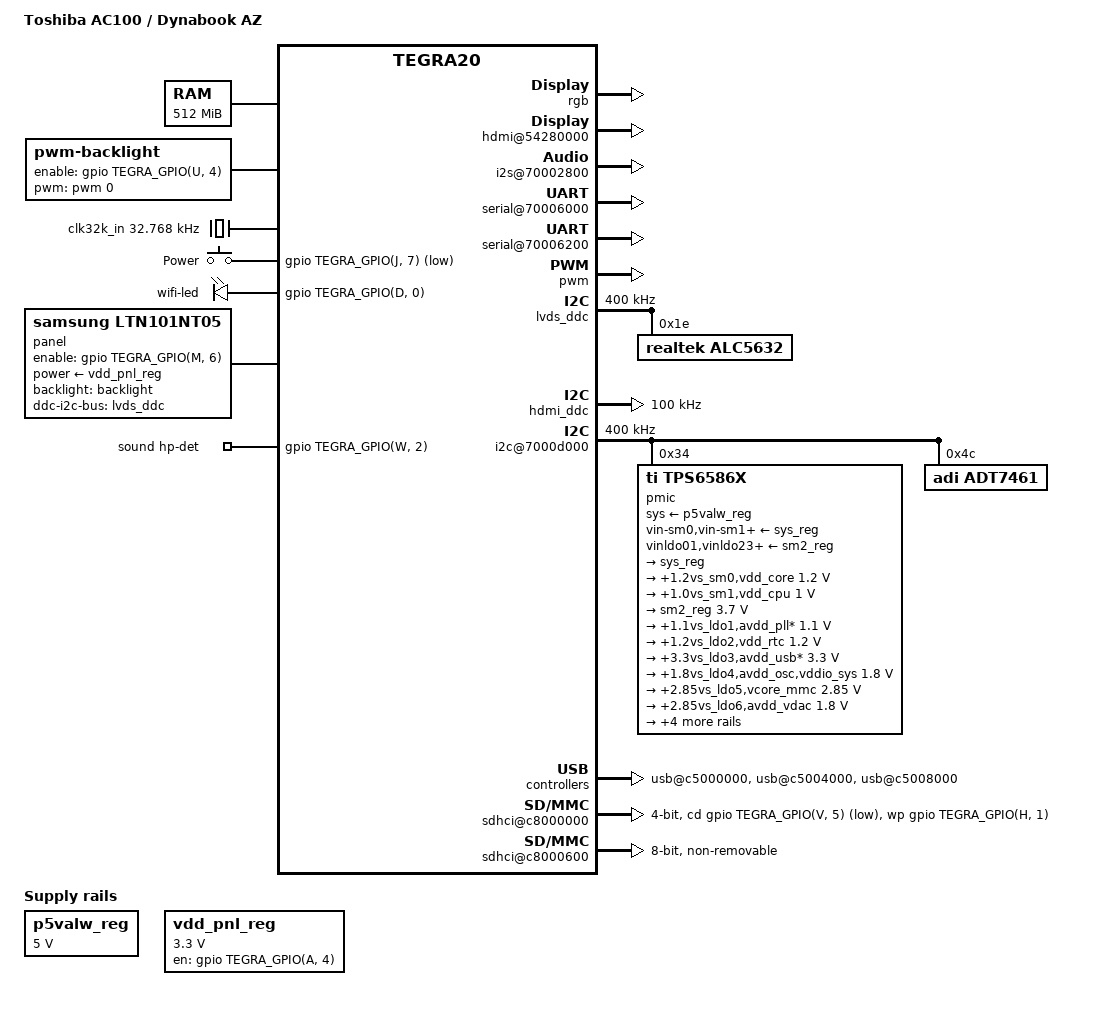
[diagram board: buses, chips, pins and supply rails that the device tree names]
/dts-v1/;

#include <dt-bindings/input/input.h>
#include "tegra20.dtsi"

/ {
	model = "Toshiba AC100 / Dynabook AZ";
	compatible = "compal,paz00", "nvidia,tegra20";

	aliases {
		rtc0 = "/i2c@7000d000/tps6586x@34";
		rtc1 = "/rtc@7000e000";
		serial0 = &uarta;
		serial1 = &uartc;
	};

	chosen {
		stdout-path = "serial0:115200n8";
	};

	memory {
		reg = <0x00000000 0x20000000>;
	};

	host1x@50000000 {
		dc@54200000 {
			rgb {
				status = "okay";

				nvidia,panel = <&panel>;
			};
		};

		hdmi@54280000 {
			status = "okay";

			vdd-supply = <&hdmi_vdd_reg>;
			pll-supply = <&hdmi_pll_reg>;

			nvidia,ddc-i2c-bus = <&hdmi_ddc>;
			nvidia,hpd-gpio = <&gpio TEGRA_GPIO(N, 7)
				GPIO_ACTIVE_HIGH>;
		};
	};

	pinmux@70000014 {
		pinctrl-names = "default";
		pinctrl-0 = <&state_default>;

		state_default: pinmux {
			ata {
				nvidia,pins = "ata", "atc", "atd", "ate",
					"dap2", "gmb", "gmc", "gmd", "spia",
					"spib", "spic", "spid", "spie";
				nvidia,function = "gmi";
			};
			atb {
				nvidia,pins = "atb", "gma", "gme";
				nvidia,function = "sdio4";
			};
			cdev1 {
				nvidia,pins = "cdev1";
				nvidia,function = "plla_out";
			};
			cdev2 {
				nvidia,pins = "cdev2";
				nvidia,function = "pllp_out4";
			};
			crtp {
				nvidia,pins = "crtp";
				nvidia,function = "crt";
			};
			csus {
				nvidia,pins = "csus";
				nvidia,function = "pllc_out1";
			};
			dap1 {
				nvidia,pins = "dap1";
				nvidia,function = "dap1";
			};
			dap3 {
				nvidia,pins = "dap3";
				nvidia,function = "dap3";
			};
			dap4 {
				nvidia,pins = "dap4";
				nvidia,function = "dap4";
			};
			ddc {
				nvidia,pins = "ddc";
				nvidia,function = "i2c2";
			};
			dta {
				nvidia,pins = "dta", "dtb", "dtc", "dtd", "dte";
				nvidia,function = "rsvd1";
			};
			dtf {
				nvidia,pins = "dtf";
				nvidia,function = "i2c3";
			};
			gpu {
				nvidia,pins = "gpu", "sdb", "sdd";
				nvidia,function = "pwm";
			};
			gpu7 {
				nvidia,pins = "gpu7";
				nvidia,function = "rtck";
			};
			gpv {
				nvidia,pins = "gpv", "slxa", "slxk";
				nvidia,function = "pcie";
			};
			hdint {
				nvidia,pins = "hdint", "pta";
				nvidia,function = "hdmi";
			};
			i2cp {
				nvidia,pins = "i2cp";
				nvidia,function = "i2cp";
			};
			irrx {
				nvidia,pins = "irrx", "irtx";
				nvidia,function = "uarta";
			};
			kbca {
				nvidia,pins = "kbca", "kbcc", "kbce", "kbcf";
				nvidia,function = "kbc";
			};
			kbcb {
				nvidia,pins = "kbcb", "kbcd";
				nvidia,function = "sdio2";
			};
			lcsn {
				nvidia,pins = "lcsn", "ld0", "ld1", "ld2",
					"ld3", "ld4", "ld5", "ld6", "ld7",
					"ld8", "ld9", "ld10", "ld11", "ld12",
					"ld13", "ld14", "ld15", "ld16", "ld17",
					"ldc", "ldi", "lhp0", "lhp1", "lhp2",
					"lhs", "lm0", "lm1", "lpp", "lpw0",
					"lpw1", "lpw2", "lsc0", "lsc1", "lsck",
					"lsda", "lsdi", "lspi", "lvp0", "lvp1",
					"lvs";
				nvidia,function = "displaya";
			};
			owc {
				nvidia,pins = "owc";
				nvidia,function = "owr";
			};
			pmc {
				nvidia,pins = "pmc";
				nvidia,function = "pwr_on";
			};
			rm {
				nvidia,pins = "rm";
				nvidia,function = "i2c1";
			};
			sdc {
				nvidia,pins = "sdc";
				nvidia,function = "twc";
			};
			sdio1 {
				nvidia,pins = "sdio1";
				nvidia,function = "sdio1";
			};
			slxc {
				nvidia,pins = "slxc", "slxd";
				nvidia,function = "spi4";
			};
			spdi {
				nvidia,pins = "spdi", "spdo";
				nvidia,function = "rsvd2";
			};
			spif {
				nvidia,pins = "spif", "uac";
				nvidia,function = "rsvd4";
			};
			spig {
				nvidia,pins = "spig", "spih";
				nvidia,function = "spi2_alt";
			};
			uaa {
				nvidia,pins = "uaa", "uab", "uda";
				nvidia,function = "ulpi";
			};
			uad {
				nvidia,pins = "uad";
				nvidia,function = "spdif";
			};
			uca {
				nvidia,pins = "uca", "ucb";
				nvidia,function = "uartc";
			};
			conf_ata {
				nvidia,pins = "ata", "atb", "atc", "atd", "ate",
					"cdev1", "cdev2", "dap1", "dap2", "dtf",
					"gma", "gmb", "gmc", "gmd", "gme",
					"gpu", "gpu7", "gpv", "i2cp", "pta",
					"rm", "sdio1", "slxk", "spdo", "uac",
					"uda";
				nvidia,pull = <TEGRA_PIN_PULL_NONE>;
				nvidia,tristate = <TEGRA_PIN_DISABLE>;
			};
			conf_ck32 {
				nvidia,pins = "ck32", "ddrc", "pmca", "pmcb",
					"pmcc", "pmcd", "pmce", "xm2c", "xm2d";
				nvidia,pull = <TEGRA_PIN_PULL_NONE>;
			};
			conf_crtp {
				nvidia,pins = "crtp", "dap3", "dap4", "dtb",
					"dtc", "dte", "slxa", "slxc", "slxd",
					"spdi";
				nvidia,pull = <TEGRA_PIN_PULL_NONE>;
				nvidia,tristate = <TEGRA_PIN_ENABLE>;
			};
			conf_csus {
				nvidia,pins = "csus", "spia", "spib", "spid",
					"spif";
				nvidia,pull = <TEGRA_PIN_PULL_DOWN>;
				nvidia,tristate = <TEGRA_PIN_ENABLE>;
			};
			conf_ddc {
				nvidia,pins = "ddc", "irrx", "irtx", "kbca",
					"kbcb", "kbcc", "kbcd", "kbce", "kbcf",
					"spic", "spig", "uaa", "uab";
				nvidia,pull = <TEGRA_PIN_PULL_UP>;
				nvidia,tristate = <TEGRA_PIN_DISABLE>;
			};
			conf_dta {
				nvidia,pins = "dta", "dtd", "owc", "sdc", "sdd",
					"spie", "spih", "uad", "uca", "ucb";
				nvidia,pull = <TEGRA_PIN_PULL_UP>;
				nvidia,tristate = <TEGRA_PIN_ENABLE>;
			};
			conf_hdint {
				nvidia,pins = "hdint", "ld0", "ld1", "ld2",
					"ld3", "ld4", "ld5", "ld6", "ld7",
					"ld8", "ld9", "ld10", "ld11", "ld12",
					"ld13", "ld14", "ld15", "ld16", "ld17",
					"ldc", "ldi", "lhs", "lsc0", "lspi",
					"lvs", "pmc";
				nvidia,tristate = <TEGRA_PIN_DISABLE>;
			};
			conf_lc {
				nvidia,pins = "lc", "ls";
				nvidia,pull = <TEGRA_PIN_PULL_UP>;
			};
			conf_lcsn {
				nvidia,pins = "lcsn", "lhp0", "lhp1", "lhp2",
					"lm0", "lm1", "lpp", "lpw0", "lpw1",
					"lpw2", "lsc1", "lsck", "lsda", "lsdi",
					"lvp0", "lvp1", "sdb";
				nvidia,tristate = <TEGRA_PIN_ENABLE>;
			};
			conf_ld17_0 {
				nvidia,pins = "ld17_0", "ld19_18", "ld21_20",
					"ld23_22";
				nvidia,pull = <TEGRA_PIN_PULL_DOWN>;
			};
		};
	};

	i2s@70002800 {
		status = "okay";
	};

	serial@70006000 {
		status = "okay";
	};

	serial@70006200 {
		status = "okay";
	};

	pwm: pwm@7000a000 {
		status = "okay";
	};

	lvds_ddc: i2c@7000c000 {
		status = "okay";
		clock-frequency = <400000>;

		alc5632: alc5632@1e {
			compatible = "realtek,alc5632";
			reg = <0x1e>;
			gpio-controller;
			#gpio-cells = <2>;
		};
	};

	hdmi_ddc: i2c@7000c400 {
		status = "okay";
		clock-frequency = <100000>;
	};

	nvec@7000c500 {
		compatible = "nvidia,nvec";
		reg = <0x7000c500 0x100>;
		interrupts = <GIC_SPI 92 IRQ_TYPE_LEVEL_HIGH>;
		#address-cells = <1>;
		#size-cells = <0>;
		clock-frequency = <80000>;
		request-gpios = <&gpio TEGRA_GPIO(V, 2) GPIO_ACTIVE_HIGH>;
		slave-addr = <138>;
		clocks = <&tegra_car TEGRA20_CLK_I2C3>,
		         <&tegra_car TEGRA20_CLK_PLL_P_OUT3>;
		clock-names = "div-clk", "fast-clk";
		resets = <&tegra_car 67>;
		reset-names = "i2c";
	};

	i2c@7000d000 {
		status = "okay";
		clock-frequency = <400000>;

		pmic: tps6586x@34 {
			compatible = "ti,tps6586x";
			reg = <0x34>;
			interrupts = <GIC_SPI 86 IRQ_TYPE_LEVEL_HIGH>;

			#gpio-cells = <2>;
			gpio-controller;

			sys-supply = <&p5valw_reg>;
			vin-sm0-supply = <&sys_reg>;
			vin-sm1-supply = <&sys_reg>;
			vin-sm2-supply = <&sys_reg>;
			vinldo01-supply = <&sm2_reg>;
			vinldo23-supply = <&sm2_reg>;
			vinldo4-supply = <&sm2_reg>;
			vinldo678-supply = <&sm2_reg>;
			vinldo9-supply = <&sm2_reg>;

			regulators {
				sys_reg: sys {
					regulator-name = "vdd_sys";
					regulator-always-on;
				};

				sm0 {
					regulator-name = "+1.2vs_sm0,vdd_core";
					regulator-min-microvolt = <1200000>;
					regulator-max-microvolt = <1200000>;
					regulator-always-on;
				};

				sm1 {
					regulator-name = "+1.0vs_sm1,vdd_cpu";
					regulator-min-microvolt = <1000000>;
					regulator-max-microvolt = <1000000>;
					regulator-always-on;
				};

				sm2_reg: sm2 {
					regulator-name = "+3.7vs_sm2,vin_ldo*";
					regulator-min-microvolt = <3700000>;
					regulator-max-microvolt = <3700000>;
					regulator-always-on;
				};

				/* LDO0 is not connected to anything */

				ldo1 {
					regulator-name = "+1.1vs_ldo1,avdd_pll*";
					regulator-min-microvolt = <1100000>;
					regulator-max-microvolt = <1100000>;
					regulator-always-on;
				};

				ldo2 {
					regulator-name = "+1.2vs_ldo2,vdd_rtc";
					regulator-min-microvolt = <1200000>;
					regulator-max-microvolt = <1200000>;
				};

				ldo3 {
					regulator-name = "+3.3vs_ldo3,avdd_usb*";
					regulator-min-microvolt = <3300000>;
					regulator-max-microvolt = <3300000>;
					regulator-always-on;
				};

				ldo4 {
					regulator-name = "+1.8vs_ldo4,avdd_osc,vddio_sys";
					regulator-min-microvolt = <1800000>;
					regulator-max-microvolt = <1800000>;
					regulator-always-on;
				};

				ldo5 {
					regulator-name = "+2.85vs_ldo5,vcore_mmc";
					regulator-min-microvolt = <2850000>;
					regulator-max-microvolt = <2850000>;
					regulator-always-on;
				};

				ldo6 {
					/*
					 * Research indicates this should be
					 * 1.8v; other boards that use this
					 * rail for the same purpose need it
					 * set to 1.8v. The schematic signal
					 * name is incorrect; perhaps copied
					 * from an incorrect NVIDIA reference.
					 */
					regulator-name = "+2.85vs_ldo6,avdd_vdac";
					regulator-min-microvolt = <1800000>;
					regulator-max-microvolt = <1800000>;
				};

				hdmi_vdd_reg: ldo7 {
					regulator-name = "+3.3vs_ldo7,avdd_hdmi";
					regulator-min-microvolt = <3300000>;
					regulator-max-microvolt = <3300000>;
				};

				hdmi_pll_reg: ldo8 {
					regulator-name = "+1.8vs_ldo8,avdd_hdmi_pll";
					regulator-min-microvolt = <1800000>;
					regulator-max-microvolt = <1800000>;
				};

				ldo9 {
					regulator-name = "+2.85vs_ldo9,vdd_ddr_rx";
					regulator-min-microvolt = <2850000>;
					regulator-max-microvolt = <2850000>;
					regulator-always-on;
				};

				ldo_rtc {
					regulator-name = "+3.3vs_rtc";
					regulator-min-microvolt = <3300000>;
					regulator-max-microvolt = <3300000>;
					regulator-always-on;
				};
			};
		};

		adt7461@4c {
			compatible = "adi,adt7461";
			reg = <0x4c>;
		};
	};

	pmc@7000e400 {
		nvidia,invert-interrupt;
		nvidia,suspend-mode = <1>;
		nvidia,cpu-pwr-good-time = <2000>;
		nvidia,cpu-pwr-off-time = <0>;
		nvidia,core-pwr-good-time = <3845 3845>;
		nvidia,core-pwr-off-time = <0>;
		nvidia,sys-clock-req-active-high;
	};

	usb@c5000000 {
		status = "okay";
	};

	usb-phy@c5000000 {
		status = "okay";
	};

	usb@c5004000 {
		status = "okay";
		nvidia,phy-reset-gpio = <&gpio TEGRA_GPIO(V, 0)
			GPIO_ACTIVE_LOW>;
	};

	usb-phy@c5004000 {
		status = "okay";
		nvidia,phy-reset-gpio = <&gpio TEGRA_GPIO(V, 0)
			GPIO_ACTIVE_LOW>;
	};

	usb@c5008000 {
		status = "okay";
	};

	usb-phy@c5008000 {
		status = "okay";
	};

	sdhci@c8000000 {
		status = "okay";
		cd-gpios = <&gpio TEGRA_GPIO(V, 5) GPIO_ACTIVE_LOW>;
		wp-gpios = <&gpio TEGRA_GPIO(H, 1) GPIO_ACTIVE_HIGH>;
		power-gpios = <&gpio TEGRA_GPIO(V, 1) GPIO_ACTIVE_HIGH>;
		bus-width = <4>;
	};

	sdhci@c8000600 {
		status = "okay";
		bus-width = <8>;
		non-removable;
	};

	backlight: backlight {
		compatible = "pwm-backlight";

		enable-gpios = <&gpio TEGRA_GPIO(U, 4) GPIO_ACTIVE_HIGH>;
		pwms = <&pwm 0 5000000>;

		brightness-levels = <0 16 32 48 64 80 96 112 128 144 160 176 192 208 224 240 255>;
		default-brightness-level = <10>;

		backlight-boot-off;
	};

	clocks {
		compatible = "simple-bus";
		#address-cells = <1>;
		#size-cells = <0>;

		clk32k_in: clock@0 {
			compatible = "fixed-clock";
			reg = <0>;
			#clock-cells = <0>;
			clock-frequency = <32768>;
		};
	};

	gpio-keys {
		compatible = "gpio-keys";

		power {
			label = "Power";
			gpios = <&gpio TEGRA_GPIO(J, 7) GPIO_ACTIVE_LOW>;
			linux,code = <KEY_POWER>;
			wakeup-source;
		};
	};

	gpio-leds {
		compatible = "gpio-leds";

		wifi {
			label = "wifi-led";
			gpios = <&gpio TEGRA_GPIO(D, 0) GPIO_ACTIVE_HIGH>;
			linux,default-trigger = "rfkill0";
		};
	};

	panel: panel {
		compatible = "samsung,ltn101nt05", "simple-panel";

		ddc-i2c-bus = <&lvds_ddc>;
		power-supply = <&vdd_pnl_reg>;
		enable-gpios = <&gpio TEGRA_GPIO(M, 6) GPIO_ACTIVE_HIGH>;

		backlight = <&backlight>;
	};

	regulators {
		compatible = "simple-bus";
		#address-cells = <1>;
		#size-cells = <0>;

		p5valw_reg: regulator@0 {
			compatible = "regulator-fixed";
			reg = <0>;
			regulator-name = "+5valw";
			regulator-min-microvolt = <5000000>;
			regulator-max-microvolt = <5000000>;
			regulator-always-on;
		};

		vdd_pnl_reg: regulator@1 {
			compatible = "regulator-fixed";
			reg = <1>;
			regulator-name = "+3VS,vdd_pnl";
			regulator-min-microvolt = <3300000>;
			regulator-max-microvolt = <3300000>;
			gpio = <&gpio TEGRA_GPIO(A, 4) GPIO_ACTIVE_HIGH>;
			enable-active-high;
		};
	};

	sound {
		compatible = "nvidia,tegra-audio-alc5632-paz00",
			"nvidia,tegra-audio-alc5632";

		nvidia,model = "Compal PAZ00";

		nvidia,audio-routing =
			"Int Spk", "SPKOUT",
			"Int Spk", "SPKOUTN",
			"Headset Mic", "MICBIAS1",
			"MIC1", "Headset Mic",
			"Headset Stereophone", "HPR",
			"Headset Stereophone", "HPL",
			"DMICDAT", "Digital Mic";

		nvidia,audio-codec = <&alc5632>;
		nvidia,i2s-controller = <&tegra_i2s1>;
		nvidia,hp-det-gpios = <&gpio TEGRA_GPIO(W, 2)
			GPIO_ACTIVE_HIGH>;

		clocks = <&tegra_car TEGRA20_CLK_PLL_A>,
		         <&tegra_car TEGRA20_CLK_PLL_A_OUT0>,
		         <&tegra_car TEGRA20_CLK_CDEV1>;
		clock-names = "pll_a", "pll_a_out0", "mclk";
	};
};
